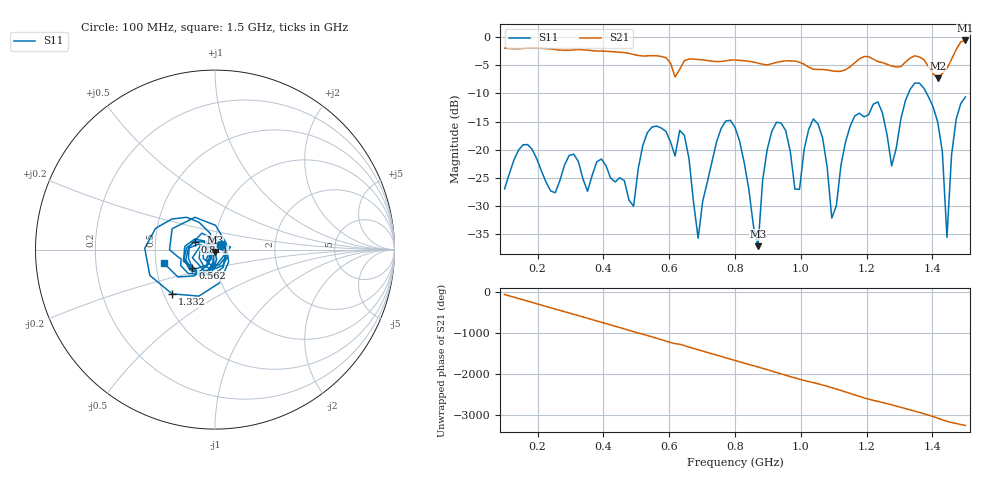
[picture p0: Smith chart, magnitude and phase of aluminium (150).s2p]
! NanoVNA-App
! Date: 2025-09-25 14:56:27
! Start: 100MHz Stop: 1,5GHz Points: 101
! S-Parameter data: F S11 S21 S12 S22
# Hz S RI R 50
!  Frequency  S11_Real  S11_Imag  S21_Real  S21_Imag  S12_Real  S12_Imag  S22_Real  S22_Imag
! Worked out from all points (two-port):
!   101 points, 100 MHz to 1.5 GHz, reference 50 ohm
!   highest |S21| = -0.56 dB at 1.5 GHz (marker M1); lowest = -7.3 dB at 1.416 GHz (marker M2)
!   |S21| within 3 dB of the highest: start of sweep to 585.2 MHz; 1.461 GHz to end of sweep (the widest 2 of 4)
!   lowest |S11| = -37.2 dB at 870 MHz (marker M3), VSWR 1.03, Z = 49.8 - j1.37 ohm
!   |S11| at or under -10 dB: start of sweep to 1.327 GHz; 1.382 GHz to end of sweep
!   S12 and S22 are empty: the file has one direction only
!   S11 on the Smith chart (normalised r, x): 100 MHz: 1.07, +0.06; 562 MHz: 0.76, -0.16; 814 MHz: 0.80, +0.07; 1.332 GHz: 0.55, -0.31; 1.5 GHz: 0.55, -0.09
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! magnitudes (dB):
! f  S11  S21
! 100 MHz  -27.0  -1.9
! 338 MHz  -25.2  -2.2
! 492 MHz  -30.1  -3.1
! 562 MHz  -15.8  -3.3
! 576 MHz  -16.2  -3.4
! 646 MHz  -17.4  -4.2
! 688 MHz  -35.8  -4.0
! 800 MHz  -16.0  -4.0
! 814 MHz  -18.5  -4.1
! 870 MHz  -37.2  -4.6
! 912 MHz  -16.7  -4.7
! 996 MHz  -27.1  -4.4
! 1.038 GHz  -14.5  -5.7
! 1.094 GHz  -32.2  -6.0
! 1.164 GHz  -14.0  -4.5
! 1.234 GHz  -11.5  -4.3
! 1.276 GHz  -22.9  -5.1
! 1.332 GHz  -9.3  -3.7
! 1.416 GHz  -15.1  -7.3
! 1.444 GHz  -35.6  -5.6
! 1.472 GHz  -14.6  -2.2
! 1.5 GHz  -10.6  -0.6
